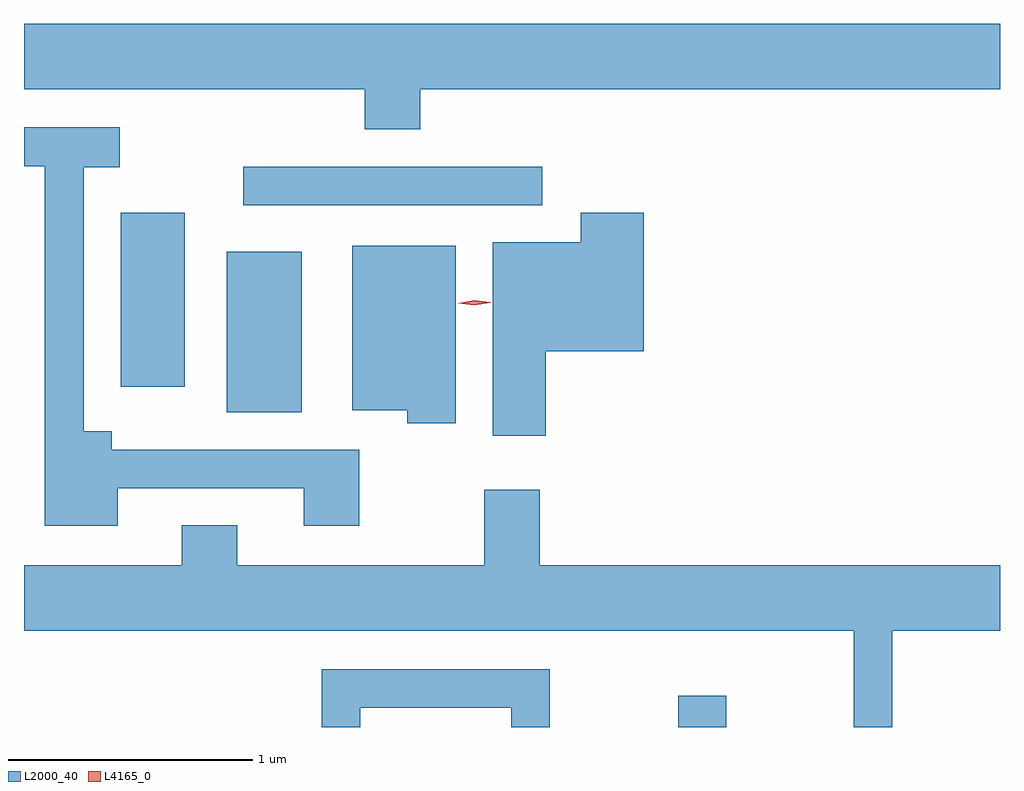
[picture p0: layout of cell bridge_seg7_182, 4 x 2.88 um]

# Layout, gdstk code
import gdstk
lib = gdstk.Library(unit=1e-6, precision=1e-09)
def R(c, l, rs):  # rectangles x0, y0, x1, y1
    for r in rs: c.add(gdstk.rectangle(r[:2], r[2:], *l))
def P(c, l, *ps):  # polygons
    for p in ps: c.add(gdstk.Polygon(p, *l))
L2000_40 = (2000, 40)
L4165_0 = (4165, 0)

bridge_seg7_182 = lib.new_cell('bridge_seg7_182')
R(bridge_seg7_182, L2000_40, [(1589.846,1722.801,1590.044,1722.929), (1587.996,1724.091,1588.304,1724.749), (1587.561,1724.196,1587.824,1724.909), (1588.063,1724.941,1589.288,1725.099)])
P(bridge_seg7_182, L2000_40, [(1588.789,1725.416),(1591.165,1725.416),(1591.165,1725.684),(1587.165,1725.684),(1587.165,1725.416),(1588.561,1725.416),(1588.561,1725.251),(1588.789,1725.251)],
  [(1587.549,1723.781),(1588.311,1723.781),(1588.311,1723.626),(1588.539,1723.626),(1588.539,1723.939),(1587.524,1723.939),(1587.524,1724.014),(1587.409,1724.014),(1587.409,1725.096),(1587.558,1725.096),(1587.558,1725.259),(1587.165,1725.259),(1587.165,1725.101),(1587.251,1725.101),(1587.251,1723.626),(1587.549,1723.626)],
  [(1589.304,1724.341),(1589.704,1724.341),(1589.704,1724.909),(1589.446,1724.909),(1589.446,1724.789),(1589.086,1724.789),(1589.086,1723.996),(1589.304,1723.996)],
  [(1588.934,1724.774),(1588.511,1724.774),(1588.511,1724.101),(1588.736,1724.101),(1588.736,1724.046),(1588.934,1724.046)],
  [(1590.724,1723.196),(1591.165,1723.196),(1591.165,1723.464),(1589.279,1723.464),(1589.279,1723.774),(1589.051,1723.774),(1589.051,1723.464),(1588.039,1723.464),(1588.039,1723.629),(1587.811,1723.629),(1587.811,1723.464),(1587.165,1723.464),(1587.165,1723.196),(1590.566,1723.196),(1590.566,1722.801),(1590.724,1722.801)],
  [(1588.544,1722.881),(1589.161,1722.881),(1589.161,1722.801),(1589.319,1722.801),(1589.319,1723.039),(1588.386,1723.039),(1588.386,1722.801),(1588.544,1722.801)])
P(bridge_seg7_182, L4165_0, [(1589.01,1724.53),(1588.944,1724.538),(1588.944,1724.539),(1588.944,1724.539),(1589.01,1724.55),(1589.076,1724.542),(1589.077,1724.541),(1589.076,1724.541)])

lib.write_gds('bridge_seg7_182.gds')
